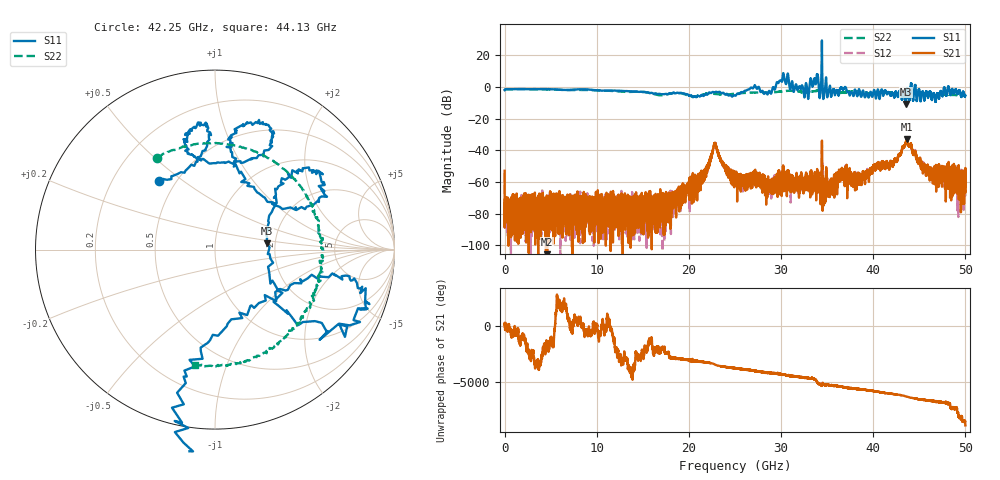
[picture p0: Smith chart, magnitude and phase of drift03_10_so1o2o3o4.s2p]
!Created with skrf (http://scikit-rf.org).
# Hz S RI R 50.0
!freq ReS11 ImS11 ReS21 ImS21 ReS12 ImS12 ReS22 ImS22
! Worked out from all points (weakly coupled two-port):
!   10001 points, 300 kHz to 50 GHz, reference 50 ohm
!   highest |S21| = -33.11 dB at 43.64 GHz (marker M1); lowest = -123.1 dB at 4.615 GHz (marker M2)
!   lowest |S11| = -10.7 dB at 43.52 GHz (marker M3), VSWR 1.82, Z = 90.2 + j7.09 ohm
!   |S11| at or under -10 dB: 43.50592 GHz to 43.54091 GHz (34.99 MHz wide, 0.0804 % of centre); 43.54872 GHz to 43.55182 GHz (3.103 MHz wide, 0.00713 % of centre)
!   |S22| runs from -6.0 to -1.3 dB; largest |S21 - S12| = 0.012
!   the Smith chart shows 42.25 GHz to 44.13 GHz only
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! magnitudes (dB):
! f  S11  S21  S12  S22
! 300 kHz  -2.0  -53.0  -54.5  -2.1
! 350.3 MHz  -1.4  -80.9  -85.3  -1.4
! 4.615 GHz  -1.4  -123.1  -81.2  -1.6
! 8.335 GHz  -1.5  -69.5  -87.7  -1.9
! 16.67 GHz  -4.4  -69.6  -72.4  -5.2
! 17.58 GHz  -4.5  -75.0  -70.1  -4.8
! 21.09 GHz  -5.8  -58.2  -59.1  -5.5
! 22.82 GHz  -3.4  -35.6  -35.2  -4.5
! 25 GHz  -5.5  -54.2  -58.2  -4.3
! 28.87 GHz  -4.0  -61.4  -66.8  -3.5
! 30.14 GHz  4.4  -57.4  -55.5  -2.8
! 32.74 GHz  2.0  -60.8  -62.5  -3.3
! 33.34 GHz  2.5  -56.4  -57.6  -2.9
! 35.3 GHz  0.6  -63.3  -62.1  -2.7
! 36.48 GHz  -0.5  -55.1  -55.7  -3.8
! 38.53 GHz  -2.8  -56.6  -57.1  -3.1
! 41.67 GHz  -3.3  -49.4  -51.1  -3.7
! 43.52 GHz  -10.7  -35.1  -35.5  -4.3
! 43.64 GHz  -2.3  -33.1  -33.5  -4.1
! 46.27 GHz  -5.1  -56.9  -54.5  -5.5
! 49.53 GHz  -5.8  -59.6  -56.1  -5.1
! 50 GHz  -5.4  -52.8  -56.1  -5.0
